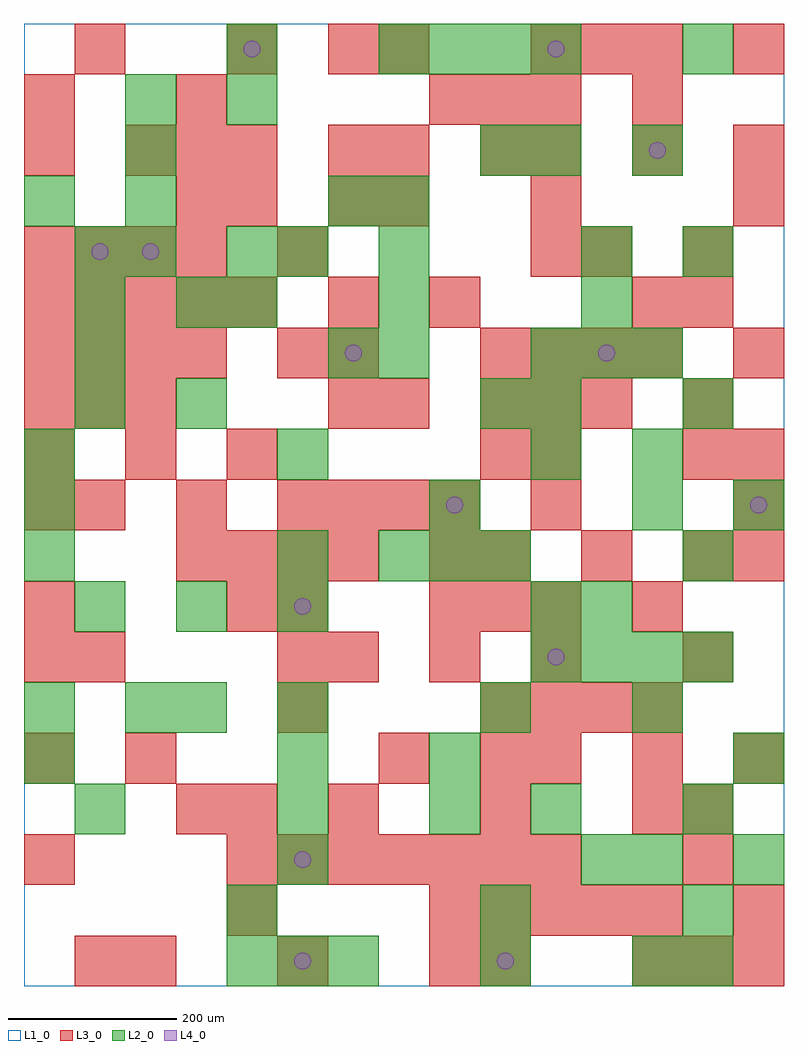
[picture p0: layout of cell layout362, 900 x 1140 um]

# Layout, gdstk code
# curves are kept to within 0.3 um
import gdstk
lib = gdstk.Library(unit=1e-6, precision=1e-09)
def R(c, l, rs):  # rectangles x0, y0, x1, y1
    for r in rs: c.add(gdstk.rectangle(r[:2], r[2:], *l))
def A(c, l, x, y, w, h, nx, ny, dx, dy):  # array of equal rectangles
    R(c, l, [(x+i*dx, y+j*dy, x+i*dx+w, y+j*dy+h) for i in range(nx) for j in range(ny)])
def P(c, l, *ps):  # polygons
    for p in ps: c.add(gdstk.Polygon(p, *l))
L1_0 = (1, 0)
L2_0 = (2, 0)
L3_0 = (3, 0)
L4_0 = (4, 0)

layout362 = lib.new_cell('layout362')
R(layout362, L1_0, [(0,0,900,1140)])
A(layout362, L2_0, 240, 0, 60, 60, 3, 1, 60, 0)
A(layout362, L2_0, 300, 120, 60, 60, 1, 4, 0, 60)
A(layout362, L2_0, 600, 180, 60, 60, 1, 3, 0, 240)
A(layout362, L2_0, 600, 360, 60, 60, 4, 1, 60, 0)
A(layout362, L2_0, 60, 420, 60, 60, 3, 1, 120, 0)
A(layout362, L2_0, 420, 480, 60, 60, 3, 1, 60, 0)
A(layout362, L2_0, 780, 480, 60, 60, 1, 3, 0, 180)
A(layout362, L2_0, 0, 600, 60, 60, 3, 1, 300, 0)
A(layout362, L2_0, 60, 660, 60, 60, 1, 4, 0, 60)
A(layout362, L2_0, 420, 720, 60, 60, 1, 4, 0, 60)
A(layout362, L2_0, 600, 720, 60, 60, 3, 1, 60, 0)
A(layout362, L2_0, 120, 840, 60, 60, 1, 4, 0, 60)
A(layout362, L2_0, 420, 1080, 60, 60, 4, 1, 60, 0)
R(layout362, L2_0, [(540,0,600,60), (720,0,780,60), (780,0,840,60), (240,60,300,120), (540,60,600,120), (780,60,840,120), (660,120,720,180), (720,120,780,180), (840,120,900,180), (60,180,120,240), (480,180,540,240), (780,180,840,240), (0,240,60,300), (480,240,540,300), (840,240,900,300), (0,300,60,360), (120,300,180,360), (180,300,240,360), (540,300,600,360), (720,300,780,360), (660,420,720,480), (0,480,60,540), (300,480,360,540), (0,540,60,600), (480,540,540,600), (720,540,780,600), (840,540,900,600), (720,600,780,660), (180,660,240,720), (540,660,600,720), (360,720,420,780), (180,780,240,840), (240,780,300,840), (660,780,720,840), (240,840,300,900), (300,840,360,900), (660,840,720,900), (0,900,60,960), (360,900,420,960), (540,960,600,1020), (600,960,660,1020), (720,960,780,1020), (240,1020,300,1080), (240,1080,300,1140), (780,1080,840,1140)])
A(layout362, L3_0, 120, 0, 60, 60, 3, 1, 180, 0)
A(layout362, L3_0, 720, 0, 60, 60, 3, 1, 60, 0)
A(layout362, L3_0, 480, 60, 60, 60, 5, 1, 60, 0)
A(layout362, L3_0, 0, 120, 60, 60, 1, 3, 0, 120)
A(layout362, L3_0, 240, 120, 60, 60, 7, 1, 60, 0)
A(layout362, L3_0, 360, 180, 60, 60, 3, 1, 180, 0)
A(layout362, L3_0, 540, 240, 60, 60, 1, 3, 0, 360)
A(layout362, L3_0, 600, 240, 60, 60, 3, 2, 120, 720)
A(layout362, L3_0, 300, 300, 60, 60, 1, 3, 0, 60)
A(layout362, L3_0, 540, 300, 60, 60, 4, 2, 60, 420)
A(layout362, L3_0, 360, 360, 60, 60, 3, 1, 120, 0)
A(layout362, L3_0, 480, 420, 60, 60, 3, 2, 60, 600)
A(layout362, L3_0, 180, 480, 60, 60, 4, 1, 60, 0)
A(layout362, L3_0, 540, 480, 60, 60, 3, 1, 120, 0)
A(layout362, L3_0, 840, 480, 60, 60, 1, 3, 0, 60)
A(layout362, L3_0, 60, 540, 60, 60, 3, 1, 120, 0)
A(layout362, L3_0, 360, 540, 60, 60, 3, 1, 60, 0)
A(layout362, L3_0, 0, 600, 60, 60, 3, 1, 120, 0)
A(layout362, L3_0, 0, 660, 60, 60, 3, 1, 60, 0)
A(layout362, L3_0, 360, 660, 60, 60, 1, 3, 0, 60)
A(layout362, L3_0, 540, 660, 60, 60, 3, 1, 60, 0)
A(layout362, L3_0, 0, 720, 60, 60, 4, 2, 60, 120)
A(layout362, L3_0, 840, 720, 60, 60, 1, 3, 0, 180)
A(layout362, L3_0, 0, 780, 60, 60, 5, 1, 60, 0)
A(layout362, L3_0, 120, 960, 60, 60, 3, 1, 60, 0)
A(layout362, L3_0, 600, 1080, 60, 60, 3, 1, 60, 0)
R(layout362, L3_0, [(60,0,120,60), (540,0,600,60), (240,60,300,120), (840,60,900,120), (780,120,840,180), (180,180,240,240), (240,180,300,240), (780,180,840,240), (120,240,180,300), (420,240,480,300), (60,360,120,420), (780,360,840,420), (0,420,60,480), (240,420,300,480), (720,420,780,480), (480,480,540,540), (0,540,60,600), (600,540,660,600), (600,600,660,660), (780,600,840,660), (420,660,480,720), (780,660,840,720), (300,720,360,780), (480,780,540,840), (720,780,780,840), (780,780,840,840), (300,840,360,900), (600,840,660,900), (660,840,720,900), (780,840,840,900), (180,900,240,960), (240,900,300,960), (360,900,420,960), (420,900,480,960), (600,900,660,960), (0,960,60,1020), (360,960,420,1020), (420,960,480,1020), (0,1020,60,1080), (180,1020,240,1080), (720,1020,780,1080), (60,1080,120,1140), (240,1080,300,1140), (360,1080,420,1140), (420,1080,480,1140)])
P(layout362, L4_0, [(100,870),(99.239,873.827),(97.071,877.071),(93.827,879.239),(90,880),(86.173,879.239),(82.929,877.071),(80.761,873.827),(80,870),(80.761,866.173),(82.929,862.929),(86.173,860.761),(90,860),(93.827,860.761),(97.071,862.929),(99.239,866.173)],
  [(160,870),(159.239,873.827),(157.071,877.071),(153.827,879.239),(150,880),(146.173,879.239),(142.929,877.071),(140.761,873.827),(140,870),(140.761,866.173),(142.929,862.929),(146.173,860.761),(150,860),(153.827,860.761),(157.071,862.929),(159.239,866.173)],
  [(280,1110),(279.239,1113.827),(277.071,1117.071),(273.827,1119.239),(270,1120),(266.173,1119.239),(262.929,1117.071),(260.761,1113.827),(260,1110),(260.761,1106.173),(262.929,1102.929),(266.173,1100.761),(270,1100),(273.827,1100.761),(277.071,1102.929),(279.239,1106.173)],
  [(340,30),(339.239,33.827),(337.071,37.071),(333.827,39.239),(330,40),(326.173,39.239),(322.929,37.071),(320.761,33.827),(320,30),(320.761,26.173),(322.929,22.929),(326.173,20.761),(330,20),(333.827,20.761),(337.071,22.929),(339.239,26.173)],
  [(340,150),(339.239,153.827),(337.071,157.071),(333.827,159.239),(330,160),(326.173,159.239),(322.929,157.071),(320.761,153.827),(320,150),(320.761,146.173),(322.929,142.929),(326.173,140.761),(330,140),(333.827,140.761),(337.071,142.929),(339.239,146.173)],
  [(340,450),(339.239,453.827),(337.071,457.071),(333.827,459.239),(330,460),(326.173,459.239),(322.929,457.071),(320.761,453.827),(320,450),(320.761,446.173),(322.929,442.929),(326.173,440.761),(330,440),(333.827,440.761),(337.071,442.929),(339.239,446.173)],
  [(400,750),(399.239,753.827),(397.071,757.071),(393.827,759.239),(390,760),(386.173,759.239),(382.929,757.071),(380.761,753.827),(380,750),(380.761,746.173),(382.929,742.929),(386.173,740.761),(390,740),(393.827,740.761),(397.071,742.929),(399.239,746.173)],
  [(520,570),(519.239,573.827),(517.071,577.071),(513.827,579.239),(510,580),(506.173,579.239),(502.929,577.071),(500.761,573.827),(500,570),(500.761,566.173),(502.929,562.929),(506.173,560.761),(510,560),(513.827,560.761),(517.071,562.929),(519.239,566.173)],
  [(580,30),(579.239,33.827),(577.071,37.071),(573.827,39.239),(570,40),(566.173,39.239),(562.929,37.071),(560.761,33.827),(560,30),(560.761,26.173),(562.929,22.929),(566.173,20.761),(570,20),(573.827,20.761),(577.071,22.929),(579.239,26.173)],
  [(640,390),(639.239,393.827),(637.071,397.071),(633.827,399.239),(630,400),(626.173,399.239),(622.929,397.071),(620.761,393.827),(620,390),(620.761,386.173),(622.929,382.929),(626.173,380.761),(630,380),(633.827,380.761),(637.071,382.929),(639.239,386.173)],
  [(640,1110),(639.239,1113.827),(637.071,1117.071),(633.827,1119.239),(630,1120),(626.173,1119.239),(622.929,1117.071),(620.761,1113.827),(620,1110),(620.761,1106.173),(622.929,1102.929),(626.173,1100.761),(630,1100),(633.827,1100.761),(637.071,1102.929),(639.239,1106.173)],
  [(700,750),(699.239,753.827),(697.071,757.071),(693.827,759.239),(690,760),(686.173,759.239),(682.929,757.071),(680.761,753.827),(680,750),(680.761,746.173),(682.929,742.929),(686.173,740.761),(690,740),(693.827,740.761),(697.071,742.929),(699.239,746.173)],
  [(760,990),(759.239,993.827),(757.071,997.071),(753.827,999.239),(750,1000),(746.173,999.239),(742.929,997.071),(740.761,993.827),(740,990),(740.761,986.173),(742.929,982.929),(746.173,980.761),(750,980),(753.827,980.761),(757.071,982.929),(759.239,986.173)],
  [(880,570),(879.239,573.827),(877.071,577.071),(873.827,579.239),(870,580),(866.173,579.239),(862.929,577.071),(860.761,573.827),(860,570),(860.761,566.173),(862.929,562.929),(866.173,560.761),(870,560),(873.827,560.761),(877.071,562.929),(879.239,566.173)])

lib.write_gds('layout362.gds')
